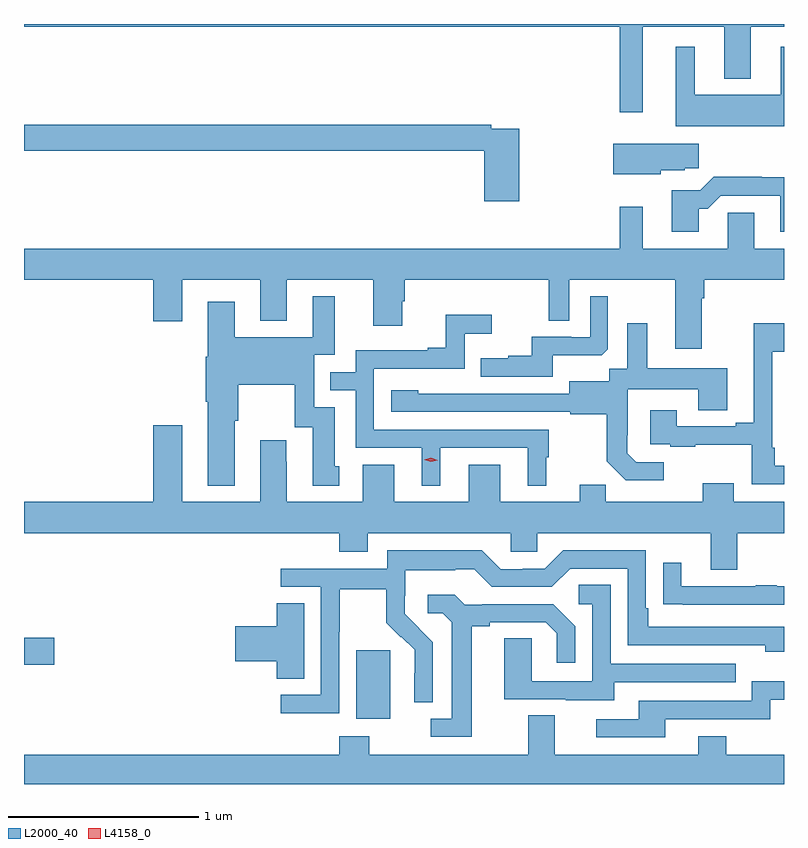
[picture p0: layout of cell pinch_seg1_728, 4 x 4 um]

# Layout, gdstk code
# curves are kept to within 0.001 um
import gdstk
lib = gdstk.Library(unit=1e-6, precision=1e-09)
def R(c, l, rs):  # rectangles x0, y0, x1, y1
    for r in rs: c.add(gdstk.rectangle(r[:2], r[2:], *l))
def P(c, l, *ps):  # polygons
    for p in ps: c.add(gdstk.Polygon(p, *l))
L2000_40 = (2000, 40)
L4158_0 = (4158, 0)

pinch_seg1_728 = lib.new_cell('pinch_seg1_728')
R(pinch_seg1_728, L2000_40, [(636.851,526.778,637.03,527.139), (635.103,527.062,635.263,527.204)])
P(pinch_seg1_728, L2000_40, [(638.359,530.42),(638.789,530.42),(638.789,530.147),(638.929,530.147),(638.929,530.42),(639.103,530.42),(639.103,530.435),(635.103,530.435),(635.103,530.42),(638.238,530.42),(638.238,529.971),(638.359,529.971)],
  [(639.103,530.314),(639.086,530.314),(639.086,530.062),(638.632,530.062),(638.632,530.314),(638.534,530.314),(638.534,529.898),(639.103,529.898)],
  [(637.709,529.884),(637.562,529.884),(637.562,529.904),(635.103,529.904),(635.103,529.768),(637.526,529.768),(637.526,529.503),(637.709,529.503)],
  [(638.454,529.664),(638.58,529.664),(638.58,529.675),(638.653,529.675),(638.653,529.804),(638.204,529.804),(638.204,529.643),(638.454,529.643)],
  [(638.653,529.463),(638.702,529.463),(638.769,529.53),(639.083,529.53),(639.083,529.341),(639.103,529.341),(639.103,529.628),(638.987,529.628),(638.987,529.631),(638.732,529.631),(638.661,529.56),(638.513,529.56),(638.513,529.341),(638.653,529.341)],
  [(635.103,529.088),(635.783,529.088),(635.783,528.87),(635.935,528.87),(635.935,529.088),(636.347,529.088),(636.347,528.872),(636.487,528.872),(636.487,529.088),(636.941,529.088),(636.941,528.846),(637.093,528.846),(637.093,528.975),(637.106,528.975),(637.106,529.088),(637.866,529.088),(637.866,528.874),(637.974,528.874),(637.974,529.088),(638.531,529.088),(638.531,528.726),(638.671,528.726),(638.671,528.992),(638.684,528.992),(638.684,529.088),(639.103,529.088),(639.103,529.252),(638.947,529.252),(638.947,529.442),(638.808,529.442),(638.808,529.252),(638.359,529.252),(638.359,529.474),(638.238,529.474),(638.238,529.252),(635.103,529.252)],
  [(637.885,528.692),(638.143,528.692),(638.175,528.723),(638.175,529.003),(638.082,529.003),(638.082,528.786),(637.982,528.786),(637.982,528.789),(637.775,528.789),(637.775,528.688),(637.651,528.688),(637.651,528.676),(637.507,528.676),(637.507,528.579),(637.885,528.579)],
  [(636.211,528.347),(636.231,528.347),(636.231,528.536),(636.527,528.536),(636.527,528.312),(636.623,528.312),(636.623,528.006),(636.763,528.006),(636.763,528.108),(636.739,528.108),(636.739,528.417),(636.63,528.417),(636.63,528.693),(636.739,528.693),(636.739,529.003),(636.623,529.003),(636.623,528.787),(636.211,528.787),(636.211,528.973),(636.071,528.973),(636.071,528.683),(636.059,528.683),(636.059,528.447),(636.071,528.447),(636.071,528.005),(636.211,528.005)],
  [(637.294,528.204),(637.754,528.204),(637.754,528.005),(637.852,528.005),(637.852,528.156),(637.864,528.156),(637.864,528.3),(636.945,528.3),(636.945,528.621),(637.422,528.621),(637.422,528.806),(637.564,528.806),(637.564,528.905),(637.324,528.905),(637.324,528.73),(637.229,528.73),(637.229,528.717),(636.849,528.717),(636.849,528.603),(636.715,528.603),(636.715,528.507),(636.849,528.507),(636.849,528.204),(637.196,528.204),(637.196,528.005),(637.294,528.005)],
  [(639.103,528.109),(639.055,528.109),(639.055,528.205),(639.042,528.205),(639.042,528.71),(639.103,528.71),(639.103,528.859),(638.945,528.859),(638.945,528.337),(638.849,528.337),(638.849,528.318),(638.539,528.318),(638.539,528.403),(638.399,528.403),(638.399,528.222),(638.503,528.222),(638.503,528.21),(638.635,528.21),(638.635,528.221),(638.934,528.221),(638.934,528.012),(639.103,528.012)],
  [(638.47,528.129),(638.325,528.129),(638.278,528.176),(638.278,528.271),(638.28,528.271),(638.28,528.512),(638.651,528.512),(638.651,528.403),(638.803,528.403),(638.803,528.622),(638.383,528.622),(638.383,528.859),(638.279,528.859),(638.279,528.62),(638.184,528.62),(638.184,528.556),(637.973,528.556),(637.973,528.489),(637.179,528.49),(637.179,528.508),(637.035,528.508),(637.035,528.393),(637.977,528.393),(637.977,528.381),(638.169,528.381),(638.169,528.135),(638.269,528.035),(638.47,528.035)],
  [(638.857,527.756),(639.103,527.756),(639.103,527.92),(638.839,527.92),(638.839,528.019),(638.675,528.019),(638.675,527.92),(638.165,527.92),(638.165,528.011),(638.027,528.011),(638.027,527.92),(637.609,527.92),(637.609,528.115),(637.445,528.115),(637.445,527.92),(637.051,527.92),(637.051,528.115),(636.887,528.115),(636.887,527.92),(636.487,527.92),(636.487,528.131),(636.484,528.131),(636.484,528.244),(636.347,528.244),(636.347,527.92),(635.935,527.92),(635.935,528.322),(635.783,528.322),(635.783,527.92),(635.103,527.92),(635.103,527.756),(636.761,527.756),(636.761,527.657),(636.913,527.657),(636.913,527.756),(637.665,527.756),(637.665,527.658),(637.803,527.658),(637.803,527.756),(638.717,527.756),(638.717,527.562),(638.857,527.562)],
  [(636.762,527.236),(636.765,527.236),(636.765,527.46),(637.009,527.46),(637.009,527.285),(637.086,527.208),(637.089,527.211),(637.16,527.141),(637.16,527.018),(637.158,527.018),(637.158,526.864),(637.254,526.864),(637.254,527.182),(637.108,527.33),(637.108,527.427),(637.11,527.427),(637.11,527.561),(637.373,527.561),(637.373,527.565),(637.473,527.565),(637.566,527.472),(637.881,527.472),(637.977,527.568),(638.28,527.568),(638.28,527.166),(639.005,527.166),(639.005,527.132),(639.103,527.132),(639.103,527.262),(638.389,527.262),(638.389,527.359),(638.376,527.359),(638.376,527.664),(637.941,527.664),(637.845,527.568),(637.727,527.568),(637.727,527.565),(637.611,527.565),(637.511,527.665),(637.014,527.665),(637.014,527.568),(636.453,527.568),(636.453,527.472),(636.666,527.472),(636.666,526.905),(636.453,526.905),(636.453,526.807),(636.762,526.807)],
  [(639.103,527.475),(639.065,527.475),(639.065,527.48),(638.953,527.48),(638.953,527.475),(638.563,527.475),(638.563,527.599),(638.467,527.599),(638.467,527.38),(638.569,527.38),(638.569,527.379),(639.103,527.379)],
  [(638.209,526.971),(638.849,526.971),(638.849,527.067),(638.19,527.067),(638.19,527.483),(638.022,527.483),(638.022,527.382),(638.094,527.382),(638.094,526.977),(637.776,526.977),(637.776,527.201),(637.631,527.201),(637.631,526.881),(637.955,526.881),(637.955,526.877),(638.209,526.877)],
  [(637.459,527.264),(637.555,527.264),(637.555,527.286),(637.85,527.286),(637.907,527.229),(637.907,527.073),(638.004,527.073),(638.004,527.266),(637.888,527.382),(637.516,527.382),(637.516,527.379),(637.422,527.379),(637.37,527.431),(637.227,527.431),(637.227,527.334),(637.308,527.334),(637.355,527.287),(637.355,526.779),(637.245,526.779),(637.245,526.683),(637.459,526.683)],
  [(636.577,527.387),(636.434,527.387),(636.434,527.264),(636.216,527.264),(636.216,527.081),(636.434,527.081),(636.434,526.99),(636.577,526.99)],
  [(638.479,526.776),(639.03,526.776),(639.03,526.878),(639.103,526.878),(639.103,526.975),(638.934,526.975),(638.934,526.872),(638.339,526.872),(638.339,526.776),(638.115,526.776),(638.115,526.68),(638.479,526.68)],
  [(639.103,526.588),(638.799,526.588),(638.799,526.687),(638.651,526.687),(638.651,526.588),(637.897,526.588),(637.897,526.796),(637.757,526.796),(637.757,526.588),(636.921,526.588),(636.921,526.687),(636.761,526.687),(636.761,526.588),(635.103,526.588),(635.103,526.435),(639.103,526.435)])
P(pinch_seg1_728, L4158_0, [(637.245,528.131),(637.209,528.142),(637.209,528.142),(637.209,528.142),(637.245,528.151),(637.281,528.14),(637.281,528.14),(637.281,528.14)])

lib.write_gds('pinch_seg1_728.gds')
